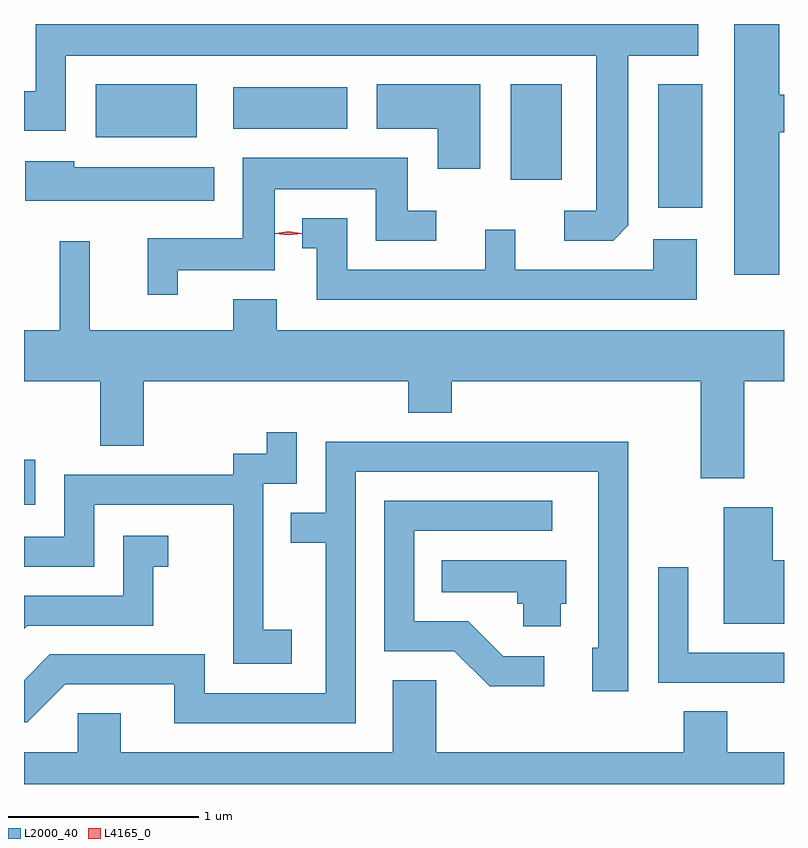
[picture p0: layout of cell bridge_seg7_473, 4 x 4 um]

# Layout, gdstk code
import gdstk
lib = gdstk.Library(unit=1e-6, precision=1e-09)
def R(c, l, rs):  # rectangles x0, y0, x1, y1
    for r in rs: c.add(gdstk.rectangle(r[:2], r[2:], *l))
def P(c, l, *ps):  # polygons
    for p in ps: c.add(gdstk.Polygon(p, *l))
L2000_40 = (2000, 40)
L4165_0 = (4165, 0)

bridge_seg7_473 = lib.new_cell('bridge_seg7_473')
R(bridge_seg7_473, L2000_40, [(1434.779,1704.786,1434.839,1705.023), (1438.116,1706.351,1438.349,1706.999), (1437.341,1706.496,1437.609,1706.999), (1435.156,1706.721,1435.689,1706.999), (1435.881,1706.766,1436.479,1706.984)])
P(bridge_seg7_473, L2000_40, [(1438.754,1706.746),(1438.779,1706.746),(1438.779,1706.944),(1438.754,1706.944),(1438.754,1707.317),(1438.516,1707.317),(1438.516,1705.996),(1438.754,1705.996)],
  [(1437.959,1706.257),(1437.959,1707.151),(1438.328,1707.151),(1438.328,1707.317),(1434.841,1707.317),(1434.841,1706.964),(1434.779,1706.964),(1434.779,1706.756),(1434.999,1706.756),(1434.999,1707.151),(1437.791,1707.151),(1437.791,1706.334),(1437.623,1706.334),(1437.623,1706.176),(1437.879,1706.176)],
  [(1437.179,1706.999),(1436.636,1706.999),(1436.636,1706.766),(1436.956,1706.766),(1436.956,1706.556),(1437.179,1706.556)],
  [(1435.589,1706.021),(1436.099,1706.021),(1436.099,1706.446),(1436.631,1706.446),(1436.631,1706.176),(1436.948,1706.176),(1436.948,1706.334),(1436.799,1706.334),(1436.799,1706.614),(1435.931,1706.614),(1435.931,1706.189),(1435.431,1706.189),(1435.431,1705.893),(1435.589,1705.893)],
  [(1435.779,1706.564),(1435.044,1706.564),(1435.044,1706.594),(1434.786,1706.594),(1434.786,1706.386),(1435.779,1706.386)],
  [(1438.319,1706.184),(1438.091,1706.184),(1438.091,1706.024),(1437.364,1706.024),(1437.364,1706.233),(1437.206,1706.233),(1437.206,1706.024),(1436.479,1706.024),(1436.479,1706.294),(1436.243,1706.294),(1436.243,1706.136),(1436.321,1706.136),(1436.321,1705.866),(1438.319,1705.866)],
  [(1436.109,1705.869),(1435.881,1705.869),(1435.881,1705.704),(1435.124,1705.704),(1435.124,1706.173),(1434.966,1706.173),(1434.966,1705.704),(1434.779,1705.704),(1434.779,1705.436),(1435.181,1705.436),(1435.181,1705.096),(1435.409,1705.096),(1435.409,1705.436),(1436.801,1705.436),(1436.801,1705.271),(1437.029,1705.271),(1437.029,1705.436),(1438.341,1705.436),(1438.341,1704.926),(1438.569,1704.926),(1438.569,1705.436),(1438.779,1705.436),(1438.779,1705.704),(1436.109,1705.704)],
  [(1436.189,1704.129),(1436.039,1704.129),(1436.039,1704.896),(1436.214,1704.896),(1436.214,1705.168),(1436.056,1705.168),(1436.056,1705.054),(1435.881,1705.054),(1435.881,1704.944),(1434.991,1704.944),(1434.991,1704.619),(1434.779,1704.619),(1434.779,1704.461),(1435.149,1704.461),(1435.149,1704.786),(1435.881,1704.786),(1435.881,1703.951),(1436.189,1703.951)],
  [(1436.524,1704.961),(1437.801,1704.961),(1437.801,1704.034),(1437.771,1704.034),(1437.771,1703.806),(1437.959,1703.806),(1437.959,1705.119),(1436.366,1705.119),(1436.366,1704.744),(1436.183,1704.744),(1436.183,1704.586),(1436.366,1704.586),(1436.366,1703.794),(1435.729,1703.794),(1435.729,1703.999),(1434.914,1703.999),(1434.779,1703.864),(1434.779,1703.641),(1434.797,1703.641),(1434.997,1703.841),(1435.571,1703.841),(1435.571,1703.636),(1436.524,1703.636)],
  [(1437.518,1703.989),(1437.302,1703.989),(1437.117,1704.174),(1436.834,1704.174),(1436.834,1704.651),(1437.558,1704.651),(1437.558,1704.809),(1436.676,1704.809),(1436.676,1704.016),(1437.044,1704.016),(1437.229,1703.831),(1437.518,1703.831)],
  [(1438.779,1704.494),(1438.719,1704.494),(1438.719,1704.774),(1438.461,1704.774),(1438.461,1704.161),(1438.779,1704.161)],
  [(1434.797,1704.151),(1435.459,1704.151),(1435.459,1704.461),(1435.538,1704.461),(1435.538,1704.624),(1435.301,1704.624),(1435.301,1704.309),(1434.779,1704.309),(1434.779,1704.133)],
  [(1437.604,1704.266),(1437.634,1704.266),(1437.634,1704.494),(1436.978,1704.494),(1436.978,1704.326),(1437.376,1704.326),(1437.376,1704.266),(1437.406,1704.266),(1437.406,1704.146),(1437.604,1704.146)],
  [(1438.779,1704.009),(1438.274,1704.009),(1438.274,1704.458),(1438.116,1704.458),(1438.116,1703.851),(1438.779,1703.851)],
  [(1438.779,1703.484),(1438.479,1703.484),(1438.479,1703.699),(1438.251,1703.699),(1438.251,1703.484),(1436.949,1703.484),(1436.949,1703.864),(1436.721,1703.864),(1436.721,1703.484),(1435.289,1703.484),(1435.289,1703.689),(1435.061,1703.689),(1435.061,1703.484),(1434.779,1703.484),(1434.779,1703.317),(1438.779,1703.317)])
P(bridge_seg7_473, L4165_0, [(1436.171,1706.205),(1436.102,1706.214),(1436.102,1706.215),(1436.102,1706.215),(1436.171,1706.225),(1436.241,1706.215),(1436.241,1706.215),(1436.241,1706.214)])

lib.write_gds('bridge_seg7_473.gds')
